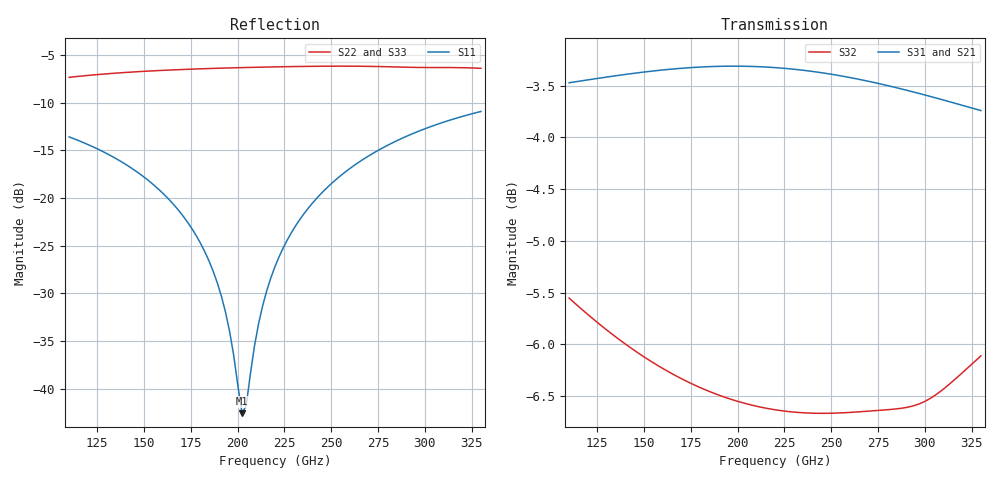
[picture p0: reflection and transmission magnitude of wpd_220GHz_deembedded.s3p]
! Created with skrf 2.0.1 (http://scikit-rf.org).
# GHz S DB R 50.0
!freq dBS11 angS11 dBS12 angS12 dBS13 angS13
! dBS21 angS21 dBS22 angS22 dBS23 angS23
! dBS31 angS31 dBS32 angS32 dBS33 angS33
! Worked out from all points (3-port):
!   101 points, 110 GHz to 330 GHz, reference 50 ohm
!   strongest paths, dB at 110 GHz, 165 GHz, 220 GHz, 275 GHz, 330 GHz:
!     S31: -3.5, -3.3, -3.3, -3.5, -3.7
!     S21: -3.5, -3.3, -3.3, -3.5, -3.7
!     S32: -5.6, -6.3, -6.6, -6.6, -6.1
!   lowest |S11| = -42.6 dB at 202.4 GHz (marker M1), VSWR 1.02, Z = 49.3 - j0.0842 ohm
!   |S11| at or under -10 dB: start of sweep to end of sweep
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110  -13.60 144.1  -3.47 -41.7  -3.47 -41.7
     -3.47 -41.7  -7.36 54.2  -5.55 -97.8
     -3.47 -41.7  -5.55 -97.8  -7.37 54.1
149.6  -17.74 132.0  -3.37 -57.5  -3.37 -57.5
       -3.37 -57.5  -6.73 31.0  -6.12 -128.4
       -3.37 -57.5  -6.12 -128.4  -6.75 30.9
176  -23.33 125.8  -3.33 -68.2  -3.32 -68.2
     -3.33 -68.2  -6.50 18.2  -6.39 -148.2
     -3.32 -68.2  -6.39 -148.2  -6.51 18.1
191.4  -30.31 128.0  -3.32 -74.5  -3.31 -74.6
       -3.32 -74.5  -6.40 11.3  -6.50 -159.7
       -3.31 -74.6  -6.50 -159.7  -6.41 11.2
202.4  -42.55 -173.4  -3.32 -79.1  -3.31 -79.1
       -3.32 -79.1  -6.34 6.6  -6.56 -167.8
       -3.31 -79.1  -6.56 -167.8  -6.35 6.5
211.2  -33.19 -91.9  -3.32 -82.7  -3.32 -82.8
       -3.32 -82.7  -6.30 2.9  -6.60 -174.3
       -3.32 -82.8  -6.60 -174.3  -6.31 2.8
220  -27.18 -85.2  -3.33 -86.4  -3.32 -86.4
     -3.33 -86.4  -6.26 -0.8  -6.63 179.2
     -3.32 -86.4  -6.63 179.2  -6.27 -0.9
235.4  -21.67 -86.1  -3.35 -92.7  -3.35 -92.8
       -3.35 -92.7  -6.21 -7.2  -6.66 167.9
       -3.35 -92.8  -6.66 167.9  -6.22 -7.3
259.6  -16.97 -92.4  -3.42 -102.7  -3.42 -102.7
       -3.42 -102.7  -6.19 -17.4  -6.66 150.0
       -3.42 -102.7  -6.66 150.0  -6.19 -17.6
330  -10.93 -114.2  -3.73 -130.7  -3.74 -130.8
     -3.73 -130.7  -6.41 -50.4  -6.11 98.5
     -3.74 -130.8  -6.11 98.5  -6.40 -50.7
